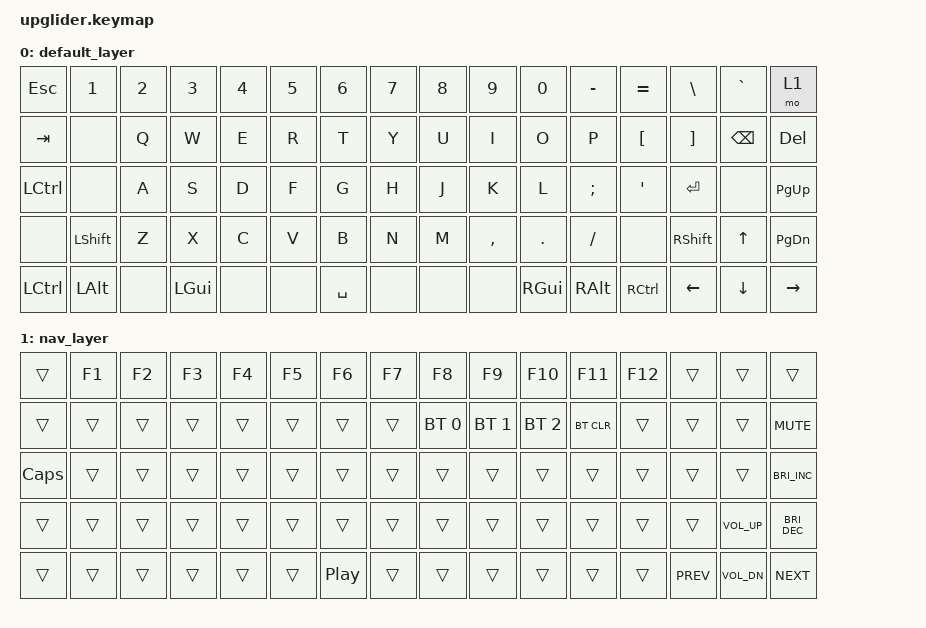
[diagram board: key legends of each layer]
/*
 * Copyright (c) 2020 The ZMK Contributors
 *
 * SPDX-License-Identifier: MIT
 */

#include <behaviors.dtsi>
#include <dt-bindings/zmk/keys.h>
#include <dt-bindings/zmk/bt.h>

/ {
    keymap {
        compatible = "zmk,keymap";

        default_layer {
//    KC_ESC,  KC_1,    KC_2,    KC_3,    KC_4,    KC_5,    KC_6,    KC_7,    KC_8,    KC_9,    KC_0,    KC_MINS, KC_EQL,  KC_BSLS, KC_GRV,  LAYER_1,
//    KC_TAB,  KC_Q,    KC_W,    KC_E,    KC_R,    KC_T,    KC_Y,    KC_U,    KC_I,    KC_O,    KC_P,    KC_LBRC, KC_RBRC, KC_BSPC,          KC_DEL,
//    KC_LCTL, KC_A,    KC_S,    KC_D,    KC_F,    KC_G,    KC_H,    KC_J,    KC_K,    KC_L,    KC_SCLN, KC_QUOT, KC_ENT,                    KC_PGUP,
//    KC_LSFT, KC_Z,    KC_X,    KC_C,    KC_V,    KC_B,    KC_N,    KC_M,    KC_COMM, KC_DOT,  KC_SLSH, KC_LSFT,                   KC_UP,   KC_PGDN,
//    KC_LCTL, KC_LALT, KC_LGUI, KC_SPC,                                               KC_RGUI, KC_LALT, KC_LCTL,          KC_LEFT, KC_DOWN, KC_RGHT)};
// ----------------------
            bindings = <
    &kp ESC &kp N1 &kp N2 &kp N3 &kp N4 &kp N5 &kp N6 &kp N7 &kp N8 &kp N9 &kp N0 &kp MINUS &kp EQL &kp BSLH &kp GRAVE &mo 1
    &kp TAB &none &kp Q &kp W &kp E &kp R &kp T &kp Y &kp U &kp I &kp O &kp P &kp LBKT &kp RBKT &kp BSPC &kp DEL
    &kp LCTL &none &kp A &kp S &kp D &kp F &kp G &kp H &kp J &kp K &kp L &kp SEMI &kp SQT &kp ENTER &none &kp PG_UP
    &none &kp LSHFT &kp Z &kp X &kp C &kp V &kp B &kp N &kp M &kp COMMA &kp DOT &kp SLASH &none &kp RSHFT &kp UP &kp PG_DN
    &kp LCTRL &kp LALT &none &kp LGUI &none &none &kp SPACE &none &none &none &kp RGUI &kp RALT &kp RCTRL &kp LEFT &kp DOWN &kp RIGHT
            >;
        };

        nav_layer {
            bindings = <
    &trans &kp F1 &kp F2 &kp F3 &kp F4 &kp F5 &kp F6 &kp F7 &kp F8 &kp F9 &kp F10 &kp F11 &kp F12 &trans &trans &trans
    &trans &trans &trans &trans &trans &trans &trans &trans &bt BT_SEL 0 &bt BT_SEL 1 &bt BT_SEL 2 &bt BT_CLR &trans &trans &trans &kp C_MUTE
    &kp CAPS &trans &trans &trans &trans &trans &trans &trans &trans &trans &trans &trans &trans &trans &trans &kp C_BRIGHTNESS_INC
    &trans &trans &trans &trans &trans &trans &trans &trans &trans &trans &trans &trans &trans &trans &kp C_VOL_UP &kp C_BRIGHTNESS_DEC
    &trans &trans &trans &trans &trans &trans &kp C_PLAY_PAUSE &trans &trans &trans &trans &trans &trans &kp C_PREV &kp C_VOL_DN &kp C_NEXT
            >;
        };
    };

    combos {
        compatible = "zmk,combos";
        combo_reset {
            timeout-ms = <50>;
            layers = <1>;
            key-positions = <21 35 22>;  // Fn + RST
            bindings = <&sys_reset>;
        };
        combo_dfu {
            timeout-ms = <50>;
            layers = <1>;
            key-positions = <36 37 24>;  // Fn + DFU
            bindings = <&bootloader>;
        };
    };
};

